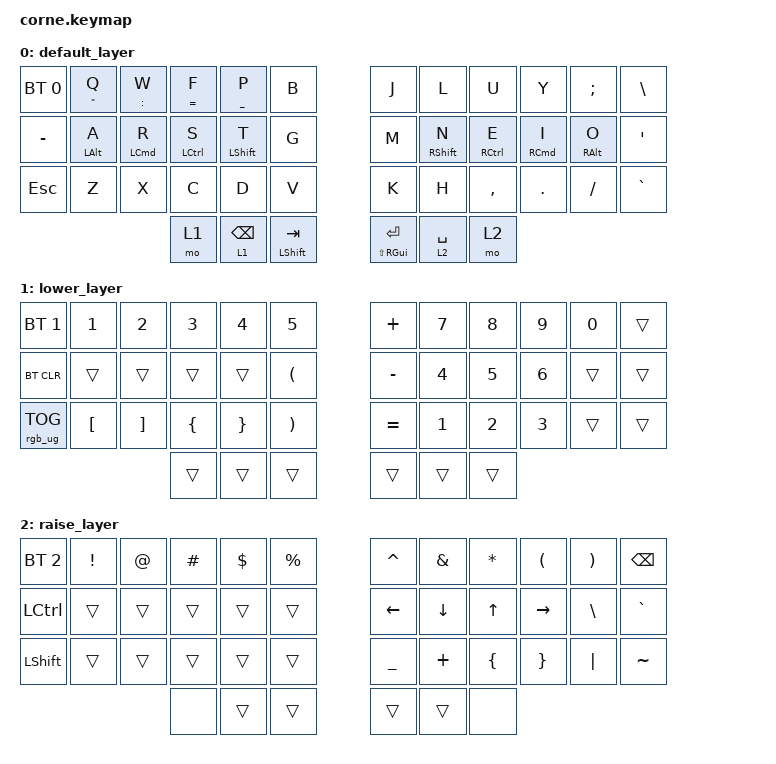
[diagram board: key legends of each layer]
/*
 * Copyright (c) 2020 The ZMK Contributors
 *
 * SPDX-License-Identifier: MIT
 */

#include <behaviors.dtsi>
#include <dt-bindings/zmk/bt.h>
#include <dt-bindings/zmk/keys.h>
#include <dt-bindings/zmk/rgb.h>

/ {
    behaviors {
        tap_hold: tap_hold {
            compatible = "zmk,behavior-hold-tap";
            label = "TAP_HOLD";
            bindings = <&kp>, <&kp>;

            #binding-cells = <2>;
            tapping-term-ms = <300>;
            flavor = "tap-preferred";
        };

        long_tap_hold: long_tap_hold {
            compatible = "zmk,behavior-hold-tap";
            label = "LONG_TAP_HOLD";
            bindings = <&kp>, <&kp>;

            #binding-cells = <2>;
            tapping-term-ms = <400>;
            flavor = "tap-preferred";
        };

        fast_tap_hold: fast_tap_hold {
            compatible = "zmk,behavior-hold-tap";
            label = "FAST_TAP_HOLD";
            bindings = <&kp>, <&kp>;

            #binding-cells = <2>;
            tapping-term-ms = <150>;
        };

        tap_layer_hold: tap_layer_hold {
            compatible = "zmk,behavior-hold-tap";
            label = "TAP_LAYER_HOLD";
            bindings = <&mo>, <&kp>;

            #binding-cells = <2>;
            flavor = "tap-preferred";
            tapping-term-ms = <200>;
        };
    };

    keymap {
        compatible = "zmk,keymap";

        default_layer {
            // -----------------------------------------------------------------------------------------
            // |  TAB |  Q  |  W  |  E  |  R  |  T  |   |  Y  |  U   |  I  |  O  |  P  | BSPC |
            // | CTRL |  A  |  S  |  D  |  F  |  G  |   |  H  |  J   |  K  |  L  |  ;  |  '   |
            // | SHFT |  Z  |  X  |  C  |  V  |  B  |   |  N  |  M   |  ,  |  .  |  /  | ESC  |
            //                    | GUI | LWR | SPC |   | ENT | RSE  | ALT |

            bindings = <
&bt BT_SEL 0  &tap_hold DOUBLE_QUOTES Q  &tap_hold COLON W         &tap_hold EQUAL F  &tap_hold UNDERSCORE P       &kp B                            &kp J                           &kp L                    &kp U              &kp Y                      &kp SEMICOLON               &kp BACKSLASH
&kp MINUS     &long_tap_hold LEFT_ALT A  &tap_hold LEFT_COMMAND R  &tap_hold LCTRL S  &tap_hold LEFT_SHIFT T       &kp G                            &kp M                           &tap_hold RSHIFT N       &tap_hold RCTRL E  &tap_hold RIGHT_COMMAND I  &long_tap_hold RIGHT_ALT O  &kp SQT
&kp ESC       &kp Z                      &kp X                     &kp C              &kp D                        &kp V                            &kp K                           &kp H                    &kp COMMA          &kp DOT                    &kp FSLH                    &kp GRAVE
                                                                   &mo 1              &tap_layer_hold 1 BACKSPACE  &fast_tap_hold LEFT_SHIFT TAB    &tap_hold LS(RIGHT_GUI) RETURN  &tap_layer_hold 2 SPACE  &mo 2
            >;
        };

        lower_layer {
            // -----------------------------------------------------------------------------------------
            // |  TAB |  1  |  2  |  3  |  4  |  5  |   |  6  |  7  |  8  |  9  |  0  | BSPC |
            // | BTCLR| BT1 | BT2 | BT3 | BT4 | BT5 |   | LFT | DWN |  UP | RGT |     |      |
            // | SHFT |     |     |     |     |     |   |     |     |     |     |     |      |
            //                    | GUI |     | SPC |   | ENT |     | ALT |

            bindings = <
&bt BT_SEL 1     &kp N1            &kp N2             &kp N3          &kp N4           &kp N5                   &kp PLUS   &kp N7        &kp N8        &kp N9        &kp N0  &trans
&bt BT_CLR       &trans            &trans             &trans          &trans           &kp LEFT_PARENTHESIS     &kp MINUS  &kp NUMBER_4  &kp N5        &kp NUMBER_6  &trans  &trans
&rgb_ug RGB_TOG  &kp LEFT_BRACKET  &kp RIGHT_BRACKET  &kp LEFT_BRACE  &kp RIGHT_BRACE  &kp RIGHT_PARENTHESIS    &kp EQUAL  &kp NUMBER_1  &kp NUMBER_2  &kp NUMBER_3  &trans  &trans
                                                      &trans          &trans           &trans                   &trans     &trans        &trans
            >;
        };

        raise_layer {
            // -----------------------------------------------------------------------------------------
            // |  TAB |  !  |  @  |  #  |  $  |  %  |   |  ^  |  &  |  *  |  (  |  )  | BSPC |
            // | CTRL |     |     |     |     |     |   |  -  |  =  |  [  |  ]  |  \  |  `   |
            // | SHFT |     |     |     |     |     |   |  _  |  +  |  {  |  }  | "|" |  ~   |
            //                    | GUI |     | SPC |   | ENT |     | ALT |

            bindings = <
&bt BT_SEL 2  &kp EXCL  &kp AT  &kp HASH  &kp DLLR  &kp PRCNT    &kp CARET  &kp AMPS  &kp ASTRK     &kp LPAR   &kp RPAR  &kp BSPC
&kp LCTRL     &trans    &trans  &trans    &trans    &trans       &kp LEFT   &kp DOWN  &kp UP_ARROW  &kp RIGHT  &kp BSLH  &kp GRAVE
&kp LSHFT     &trans    &trans  &trans    &trans    &trans       &kp UNDER  &kp PLUS  &kp LBRC      &kp RBRC   &kp PIPE  &kp TILDE
                                &none     &trans    &trans       &trans     &trans    &none
            >;
        };
    };
};
